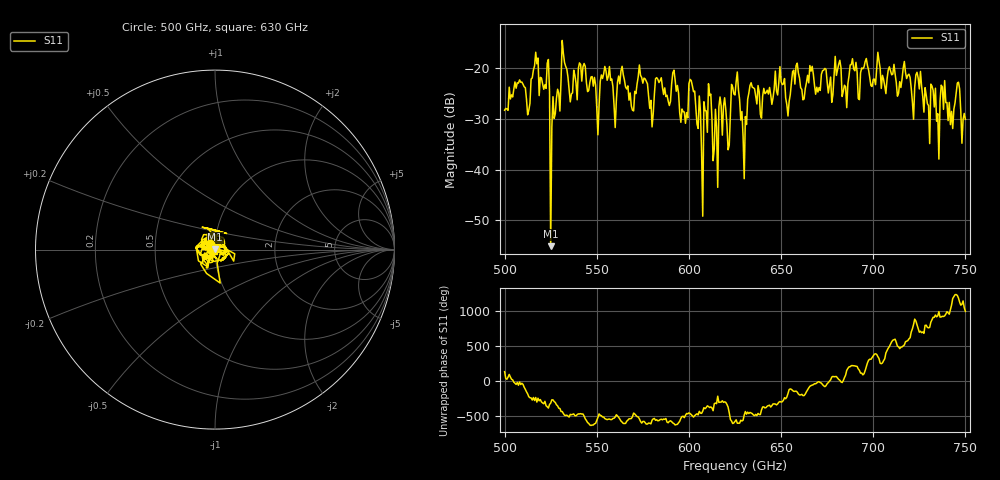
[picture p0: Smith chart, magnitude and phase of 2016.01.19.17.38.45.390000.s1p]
!Created with skrf (http://scikit-rf.org).
# GHz S RI R 50.0
!freq ReS11 ImS11
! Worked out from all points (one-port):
!   401 points, 500 GHz to 750 GHz, reference 50 ohm
!   lowest |S11| = -55.1 dB at 525 GHz (marker M1), VSWR 1.00, Z = 50.1 + j0.111 ohm
!   |S11| at or under -10 dB: start of sweep to end of sweep
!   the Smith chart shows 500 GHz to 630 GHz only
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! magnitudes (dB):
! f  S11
! 500 GHz  -28.3
! 513.1 GHz  -28.3
! 516.9 GHz  -16.8
! 523.1 GHz  -19.0
! 525 GHz  -55.1
! 526.2 GHz  -25.6
! 531.2 GHz  -14.5
! 550.6 GHz  -33.1
! 553.8 GHz  -21.1
! 560 GHz  -31.7
! 562.5 GHz  -23.1
! 568.8 GHz  -27.5
! 573.1 GHz  -19.3
! 579.4 GHz  -26.3
! 583.1 GHz  -22.2
! 593.8 GHz  -23.4
! 598.1 GHz  -30.9
! 601.9 GHz  -23.5
! 606.2 GHz  -28.5
! 611.2 GHz  -25.4
! 614.4 GHz  -28.1
! 625 GHz  -25.3
! 630 GHz  -41.8
! 633.8 GHz  -22.9
! 656.2 GHz  -20.7
! 687.5 GHz  -19.4
! 718.8 GHz  -21.4
! 750 GHz  -30.1
